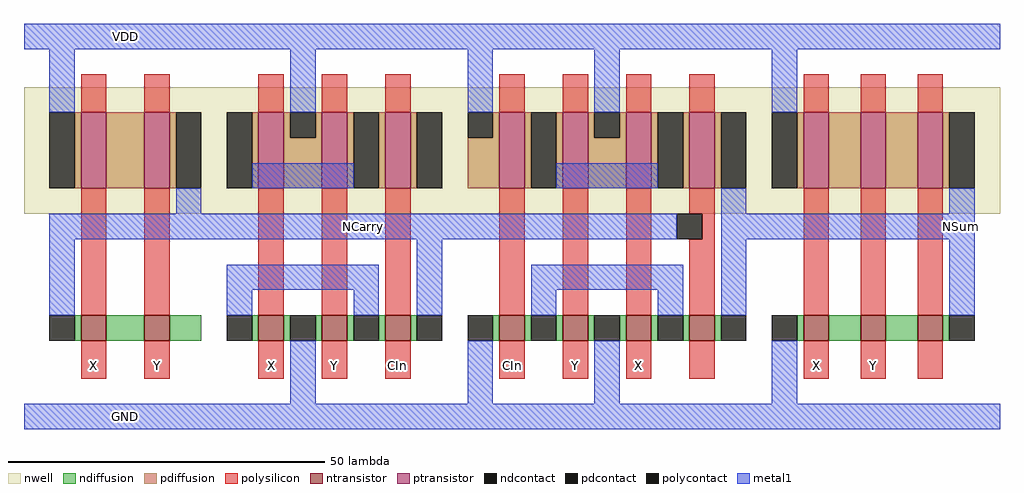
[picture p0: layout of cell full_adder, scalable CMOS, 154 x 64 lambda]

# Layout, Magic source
magic
tech scmos
<< nwell >>
rect 0 20 154 40
<< polysilicon >>
rect 9 36 13 42
rect 19 36 23 42
rect 37 36 41 42
rect 47 36 51 42
rect 57 36 61 42
rect 75 36 79 42
rect 85 36 89 42
rect 95 36 99 42
rect 105 36 109 42
rect 123 36 127 42
rect 132 36 136 42
rect 141 36 145 42
rect 9 4 13 24
rect 19 4 23 24
rect 37 4 41 24
rect 47 4 51 24
rect 57 4 61 24
rect 75 4 79 24
rect 85 4 89 24
rect 95 4 99 24
rect 105 20 109 24
rect 107 16 109 20
rect 105 4 109 16
rect 123 4 127 24
rect 132 4 136 24
rect 141 4 145 24
rect 9 -6 13 0
rect 19 -6 23 0
rect 37 -6 41 0
rect 47 -6 51 0
rect 57 -6 61 0
rect 75 -6 79 0
rect 85 -6 89 0
rect 95 -6 99 0
rect 105 -6 109 0
rect 123 -6 127 0
rect 132 -6 136 0
rect 141 -6 145 0
<< ndiffusion >>
rect 8 0 9 4
rect 13 0 19 4
rect 23 0 28 4
rect 36 0 37 4
rect 41 0 42 4
rect 46 0 47 4
rect 51 0 52 4
rect 56 0 57 4
rect 61 0 62 4
rect 74 0 75 4
rect 79 0 80 4
rect 84 0 85 4
rect 89 0 90 4
rect 94 0 95 4
rect 99 0 100 4
rect 104 0 105 4
rect 109 0 110 4
rect 122 0 123 4
rect 127 0 132 4
rect 136 0 141 4
rect 145 0 146 4
<< pdiffusion >>
rect 8 24 9 36
rect 13 24 19 36
rect 23 24 24 36
rect 36 24 37 36
rect 41 32 42 36
rect 46 32 47 36
rect 41 24 47 32
rect 51 24 52 36
rect 56 24 57 36
rect 61 24 62 36
rect 74 32 75 36
rect 70 24 75 32
rect 79 24 80 36
rect 84 24 85 36
rect 89 32 90 36
rect 94 32 95 36
rect 89 24 95 32
rect 99 24 100 36
rect 104 24 105 36
rect 109 24 110 36
rect 122 24 123 36
rect 127 24 132 36
rect 136 24 141 36
rect 145 24 146 36
<< metal1 >>
rect 0 46 154 50
rect 4 36 8 46
rect 42 36 46 46
rect 70 36 74 46
rect 90 36 94 46
rect 118 36 122 46
rect 36 24 52 28
rect 84 24 100 28
rect 24 20 28 24
rect 110 20 114 24
rect 146 20 150 24
rect 4 16 103 20
rect 110 16 150 20
rect 4 4 8 16
rect 32 8 56 12
rect 32 4 36 8
rect 52 4 56 8
rect 62 4 66 16
rect 80 8 104 12
rect 80 4 84 8
rect 100 4 104 8
rect 110 4 114 16
rect 146 4 150 16
rect 42 -10 46 0
rect 70 -10 74 0
rect 90 -10 94 0
rect 118 -10 122 0
rect 0 -14 154 -10
<< ntransistor >>
rect 9 0 13 4
rect 19 0 23 4
rect 37 0 41 4
rect 47 0 51 4
rect 57 0 61 4
rect 75 0 79 4
rect 85 0 89 4
rect 95 0 99 4
rect 105 0 109 4
rect 123 0 127 4
rect 132 0 136 4
rect 141 0 145 4
<< ptransistor >>
rect 9 24 13 36
rect 19 24 23 36
rect 37 24 41 36
rect 47 24 51 36
rect 57 24 61 36
rect 75 24 79 36
rect 85 24 89 36
rect 95 24 99 36
rect 105 24 109 36
rect 123 24 127 36
rect 132 24 136 36
rect 141 24 145 36
<< polycontact >>
rect 103 16 107 20
<< ndcontact >>
rect 4 0 8 4
rect 32 0 36 4
rect 42 0 46 4
rect 52 0 56 4
rect 62 0 66 4
rect 70 0 74 4
rect 80 0 84 4
rect 90 0 94 4
rect 100 0 104 4
rect 110 0 114 4
rect 118 0 122 4
rect 146 0 150 4
<< pdcontact >>
rect 4 24 8 36
rect 24 24 28 36
rect 32 24 36 36
rect 42 32 46 36
rect 52 24 56 36
rect 62 24 66 36
rect 70 32 74 36
rect 80 24 84 36
rect 90 32 94 36
rect 100 24 104 36
rect 110 24 114 36
rect 118 24 122 36
rect 146 24 150 36
<< labels >>
flabel metal1 0 46 32 50 0 FreeMono 40 0 0 0 VDD
port 1 nsew
flabel metal1 0 -14 32 -10 0 FreeMono 40 0 0 0 GND
port 3 nsew
flabel metal1 146 16 150 20 0 FreeMono 40 0 0 0 NSum
flabel metal1 4 16 103 20 0 FreeMono 40 0 0 0 NCarry
flabel polysilicon 9 -6 13 -2 0 FreeMono 24 0 0 0 X
port 5 nsew
flabel polysilicon 37 -6 41 -2 0 FreeMono 24 0 0 0 X
port 7 nsew
flabel polysilicon 95 -6 99 -2 0 FreeMono 24 0 0 0 X
port 9 nsew
flabel polysilicon 123 -6 127 -2 0 FreeMono 24 0 0 0 X
port 11 nsew
flabel polysilicon 19 -6 23 -2 0 FreeMono 24 0 0 0 Y
port 13 nsew
flabel polysilicon 47 -6 51 -2 0 FreeMono 24 0 0 0 Y
port 15 nsew
flabel polysilicon 85 -6 89 -2 0 FreeMono 24 0 0 0 Y
port 17 nsew
flabel polysilicon 132 -6 136 -2 0 FreeMono 24 0 0 0 Y
port 19 nsew
flabel polysilicon 57 -6 61 -2 0 FreeMono 24 0 0 0 CIn
port 21 nsew
flabel polysilicon 75 -6 79 -2 0 FreeMono 24 0 0 0 CIn
port 23 nsew
<< end >>
